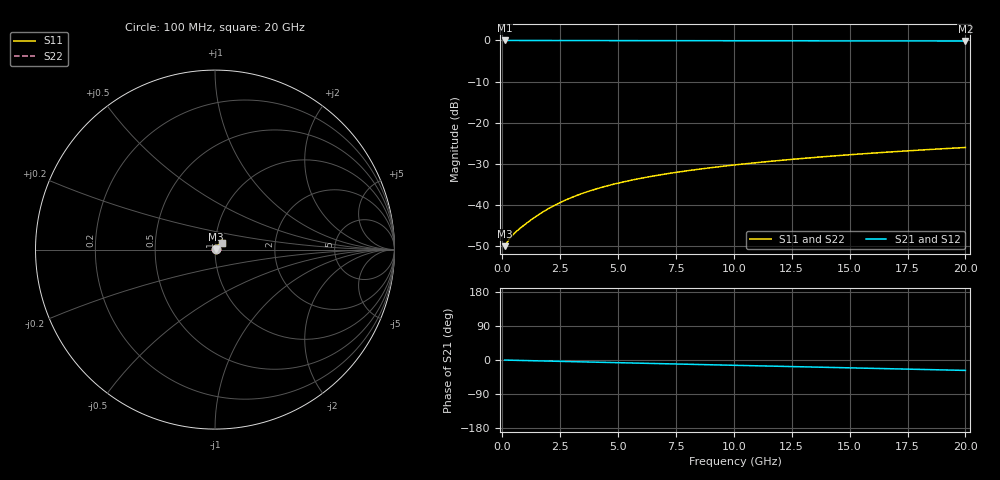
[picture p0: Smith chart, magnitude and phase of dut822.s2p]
! Touchstone file exported from HFSS 2026.1.0
!  File:  C:/ffzhzh/LocalFiles/Ansys_Project_Files/temp_train_TMRDL_822_1783156486_43440.aedt
!  Generated:  05:15:51 PM Jul  4, 2026
!  Design:  TMRDL
!  Project:  temp_train_TMRDL_822_1783156486_43440
! Variables:
!  h_bsmrdl = 2um
!  h_ox = 20um
!  h_rdl = 5um
!  h_sub = 80um
!  h_tmrdl = 5.73um
!  h_tsv = 80um
!  h_via = 3um
!  l_bsmrdl = 300um
!  l_sub = 903.74um
!  l_tmrdl = 503.74um
!  m_sub = 200um
!  pitch = 15.46um
!  r_tsv = 6um
!  s_tmrdl = 10um
!  w_bsmrdl = 18um
!  w_sub = 500um
!  w_tmrdl = 10.32um
!  x_tsv_center1 = 508.9um
!  x_tsv_center2 = 826.9um
!  x_tsv_center3 = 1340.96um
!  x_tsv_center4 = 1658.96um
!  x_tsv_center5 = 2173.02um
!  x_tsv_center6 = 2491.02um
# GHz S MA R 50.000000
! Terminal data exported
! Port[1] = TM_RDL1_1_T1
! Port[2] = TM_RDL1_1_T2
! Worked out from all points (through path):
!   200 points, 100 MHz to 20 GHz, reference 50 ohm
!   highest |S21| = -0.03 dB at 100 MHz (marker M1); lowest = -0.2 dB at 20 GHz (marker M2)
!   group delay of S21, straight-line fit = 3.79 ps
!   lowest |S11| = -49.9 dB at 100 MHz (marker M3), VSWR 1.01, Z = 50.3 + j0.0666 ohm
!   |S11| at or under -10 dB: start of sweep to end of sweep
!   |S22| runs from -49.9 to -26.0 dB; largest |S21 - S12| = 2e-15
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0.1  0.003185 12.0  0.9969 -0.2  0.9969 -0.2  0.003185 12.0
! Gamma 0 0 0 0
! Port Impedance 50 0 50 0
0.3  0.003887 25.2  0.9965 -0.5  0.9965 -0.5  0.003887 25.2
0.4  0.004212 28.8  0.9963 -0.6  0.9963 -0.6  0.004212 28.8
0.5  0.004507 31.8  0.9962 -0.8  0.9962 -0.8  0.004506 31.8
0.7  0.00506 37.0  0.996 -1.0  0.996 -1.0  0.005059 37.0
0.9  0.005619 41.5  0.9958 -1.3  0.9958 -1.3  0.005618 41.5
1.2  0.00651 46.8  0.9957 -1.8  0.9957 -1.8  0.006509 46.8
1.5  0.007456 50.6  0.9955 -2.2  0.9955 -2.2  0.007456 50.7
1.9  0.008771 54.1  0.9952 -2.8  0.9952 -2.8  0.00877 54.1
2.4  0.01044 56.6  0.9947 -3.5  0.9947 -3.5  0.01044 56.7
2.9  0.0121 57.9  0.9943 -4.2  0.9943 -4.2  0.0121 58.0
3.5  0.01404 58.6  0.9937 -5.0  0.9937 -5.0  0.01404 58.6
4.2  0.0162 58.6  0.9929 -6.0  0.9929 -6.0  0.01619 58.6
5  0.01853 58.1  0.9921 -7.1  0.9921 -7.1  0.01853 58.2
5.8  0.02072 57.4  0.9913 -8.2  0.9913 -8.2  0.02072 57.5
6.8  0.0233 56.5  0.9903 -9.6  0.9903 -9.6  0.0233 56.5
8.3  0.02691 55.0  0.989 -11.7  0.989 -11.7  0.0269 55.0
10.1  0.03094 53.2  0.9876 -14.1  0.9876 -14.1  0.03093 53.3
11.7  0.03434 51.6  0.9865 -16.3  0.9865 -16.3  0.03432 51.7
13.4  0.03781 50.0  0.9854 -18.6  0.9854 -18.6  0.03778 50.1
16.7  0.04419 46.6  0.9835 -23.0  0.9835 -23.0  0.04416 46.8
20  0.05016 43.1  0.9817 -27.5  0.9817 -27.5  0.05012 43.3
